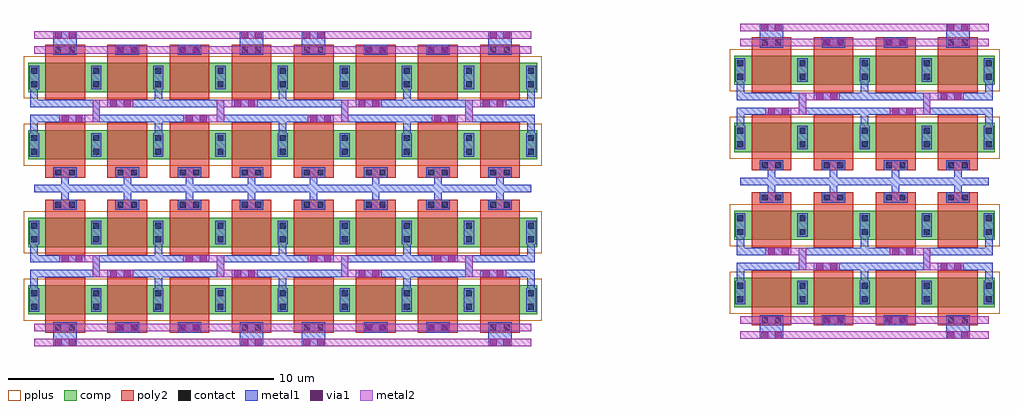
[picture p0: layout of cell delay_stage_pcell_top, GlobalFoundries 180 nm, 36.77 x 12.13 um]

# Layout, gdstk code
import gdstk
lib = gdstk.Library(unit=1e-6, precision=5e-09)
def R(c, l, rs):  # rectangles x0, y0, x1, y1
    for r in rs: c.add(gdstk.rectangle(r[:2], r[2:], *l))
comp = (22, 0)
poly2 = (30, 0)
pplus = (31, 0)
contact = (33, 0)
metal1 = (34, 0)
via1 = (35, 0)
metal2 = (36, 0)

delay_stage_pcell_1_1_2 = lib.new_cell('delay_stage_pcell_1$1$2')
R(delay_stage_pcell_1_1_2, comp, [(0.17,0.3,0.63,1.4), (0.63,0.3,2.51,1.4), (2.51,0.3,2.97,1.4)])
R(delay_stage_pcell_1_1_2, poly2, [(0.82,0,2.32,1.7)])
R(delay_stage_pcell_1_1_2, pplus, [(0,0.06,3.14,1.64)])
R(delay_stage_pcell_1_1_2, contact, [(0.29,0.485,0.51,0.705), (2.63,0.485,2.85,0.705), (0.29,0.995,0.51,1.215), (2.63,0.995,2.85,1.215)])
R(delay_stage_pcell_1_1_2, metal1, [(0.21,0.405,0.59,1.295), (2.55,0.405,2.93,1.295)])

delay_stage_pcell_4_2 = lib.new_cell('delay_stage_pcell_4$2')
delay_stage_pcell_4_2.add(gdstk.Reference(delay_stage_pcell_1_1_2, (0,0)))
delay_stage_pcell_4_2.add(gdstk.Reference(delay_stage_pcell_1_1_2, (2.34,0)))
delay_stage_pcell_4_2.add(gdstk.Reference(delay_stage_pcell_1_1_2, (4.68,0)))
delay_stage_pcell_4_2.add(gdstk.Reference(delay_stage_pcell_1_1_2, (7.02,0)))

delay_stage_pcell_4_4 = lib.new_cell('delay_stage_pcell_4_4')
R(delay_stage_pcell_4_4, poly2, [(0.82,0.51,2.32,0.89), (0.82,0.51,2.32,0.89), (3.16,0.51,4.66,0.89), (3.16,0.51,4.66,0.89), (5.5,0.51,7,0.89), (5.5,0.51,7,0.89), (7.84,0.51,9.34,0.89), (7.84,0.51,9.34,0.89), (0.82,5.13,2.32,5.51), (0.82,5.13,2.32,5.51), (3.16,5.13,4.66,5.51), (3.16,5.13,4.66,5.51), (5.5,5.13,7,5.51), (5.5,5.13,7,5.51), (7.84,5.13,9.34,5.51), (7.84,5.13,9.34,5.51), (0.82,6.35,2.32,6.73), (0.82,6.35,2.32,6.73), (3.16,6.35,4.66,6.73), (3.16,6.35,4.66,6.73), (5.5,6.35,7,6.73), (5.5,6.35,7,6.73), (7.84,6.35,9.34,6.73), (7.84,6.35,9.34,6.73), (0.82,10.97,2.32,11.35), (0.82,10.97,2.32,11.35), (3.16,10.97,4.66,11.35), (3.16,10.97,4.66,11.35), (5.5,10.97,7,11.35), (5.5,10.97,7,11.35), (7.84,10.97,9.34,11.35), (7.84,10.97,9.34,11.35)])
R(delay_stage_pcell_4_4, contact, [(1.205,0.59,1.425,0.81), (1.205,0.59,1.425,0.81), (1.715,0.59,1.935,0.81), (1.715,0.59,1.935,0.81), (3.545,0.59,3.765,0.81), (3.545,0.59,3.765,0.81), (4.055,0.59,4.275,0.81), (4.055,0.59,4.275,0.81), (5.885,0.59,6.105,0.81), (5.885,0.59,6.105,0.81), (6.395,0.59,6.615,0.81), (6.395,0.59,6.615,0.81), (8.225,0.59,8.445,0.81), (8.225,0.59,8.445,0.81), (8.735,0.59,8.955,0.81), (8.735,0.59,8.955,0.81), (1.205,5.21,1.425,5.43), (1.205,5.21,1.425,5.43), (1.715,5.21,1.935,5.43), (1.715,5.21,1.935,5.43), (3.545,5.21,3.765,5.43), (3.545,5.21,3.765,5.43), (4.055,5.21,4.275,5.43), (4.055,5.21,4.275,5.43), (5.885,5.21,6.105,5.43), (5.885,5.21,6.105,5.43), (6.395,5.21,6.615,5.43), (6.395,5.21,6.615,5.43), (8.225,5.21,8.445,5.43), (8.225,5.21,8.445,5.43), (8.735,5.21,8.955,5.43), (8.735,5.21,8.955,5.43), (1.205,6.43,1.425,6.65), (1.205,6.43,1.425,6.65), (1.715,6.43,1.935,6.65), (1.715,6.43,1.935,6.65), (3.545,6.43,3.765,6.65), (3.545,6.43,3.765,6.65), (4.055,6.43,4.275,6.65), (4.055,6.43,4.275,6.65), (5.885,6.43,6.105,6.65), (5.885,6.43,6.105,6.65), (6.395,6.43,6.615,6.65), (6.395,6.43,6.615,6.65), (8.225,6.43,8.445,6.65), (8.225,6.43,8.445,6.65), (8.735,6.43,8.955,6.65), (8.735,6.43,8.955,6.65), (1.205,11.05,1.425,11.27), (1.205,11.05,1.425,11.27), (1.715,11.05,1.935,11.27), (1.715,11.05,1.935,11.27), (3.545,11.05,3.765,11.27), (3.545,11.05,3.765,11.27), (4.055,11.05,4.275,11.27), (4.055,11.05,4.275,11.27), (5.885,11.05,6.105,11.27), (5.885,11.05,6.105,11.27), (6.395,11.05,6.615,11.27), (6.395,11.05,6.615,11.27), (8.225,11.05,8.445,11.27), (8.225,11.05,8.445,11.27), (8.735,11.05,8.955,11.27), (8.735,11.05,8.955,11.27)])
R(delay_stage_pcell_4_4, metal1, [(1.125,0,2.015,0.89), (1.125,0,2.015,0.89), (8.145,0,9.035,0.89), (8.145,0,9.035,0.89), (3.465,0.51,4.355,0.89), (3.465,0.51,4.355,0.89), (5.805,0.51,6.695,0.89), (5.805,0.51,6.695,0.89), (1.125,5.13,2.015,5.51), (3.465,5.13,4.355,5.51), (3.465,5.13,4.355,5.51), (5.805,5.13,6.695,5.51), (5.805,5.13,6.695,5.51), (8.145,5.13,9.035,5.51), (8.145,5.13,9.035,5.51), (1.125,6.35,2.015,6.73), (1.125,6.35,2.015,6.73), (3.465,6.35,4.355,6.73), (3.465,6.35,4.355,6.73), (5.805,6.35,6.695,6.73), (5.805,6.35,6.695,6.73), (8.145,6.35,9.035,6.73), (8.145,6.35,9.035,6.73), (1.125,10.97,2.015,11.86), (1.125,10.97,2.015,11.86), (3.465,10.97,4.355,11.35), (3.465,10.97,4.355,11.35), (5.805,10.97,6.695,11.35), (5.805,10.97,6.695,11.35), (8.145,10.97,9.035,11.86), (8.145,10.97,9.035,11.86)])
R(delay_stage_pcell_4_4, via1, [(1.18,0.01,1.44,0.27), (1.18,0.01,1.44,0.27), (1.7,0.01,1.96,0.27), (1.7,0.01,1.96,0.27), (8.2,0.01,8.46,0.27), (8.2,0.01,8.46,0.27), (8.72,0.01,8.98,0.27), (8.72,0.01,8.98,0.27), (3.52,0.57,3.78,0.83), (3.52,0.57,3.78,0.83), (4.04,0.57,4.3,0.83), (4.04,0.57,4.3,0.83), (5.86,0.57,6.12,0.83), (5.86,0.57,6.12,0.83), (6.38,0.57,6.64,0.83), (6.38,0.57,6.64,0.83), (3.26,2.6,3.52,2.86), (3.26,2.6,3.52,2.86), (3.78,2.6,4.04,2.86), (3.78,2.6,4.04,2.86), (7.94,2.6,8.2,2.86), (7.94,2.6,8.2,2.86), (8.46,2.6,8.72,2.86), (8.46,2.6,8.72,2.86), (1.44,3.16,1.7,3.42), (1.44,3.16,1.7,3.42), (1.96,3.16,2.22,3.42), (1.96,3.16,2.22,3.42), (6.12,3.16,6.38,3.42), (6.12,3.16,6.38,3.42), (6.64,3.16,6.9,3.42), (6.64,3.16,6.9,3.42), (1.44,8.44,1.7,8.7), (1.44,8.44,1.7,8.7), (1.96,8.44,2.22,8.7), (1.96,8.44,2.22,8.7), (6.12,8.44,6.38,8.7), (6.12,8.44,6.38,8.7), (6.64,8.44,6.9,8.7), (6.64,8.44,6.9,8.7), (3.26,9,3.52,9.26), (3.26,9,3.52,9.26), (3.78,9,4.04,9.26), (3.78,9,4.04,9.26), (7.94,9,8.2,9.26), (7.94,9,8.2,9.26), (8.46,9,8.72,9.26), (8.46,9,8.72,9.26), (3.52,11.03,3.78,11.29), (3.52,11.03,3.78,11.29), (4.04,11.03,4.3,11.29), (4.04,11.03,4.3,11.29), (5.86,11.03,6.12,11.29), (5.86,11.03,6.12,11.29), (6.38,11.03,6.64,11.29), (6.38,11.03,6.64,11.29), (1.18,11.59,1.44,11.85), (1.18,11.59,1.44,11.85), (1.7,11.59,1.96,11.85), (1.7,11.59,1.96,11.85), (8.2,11.59,8.46,11.85), (8.2,11.59,8.46,11.85), (8.72,11.59,8.98,11.85), (8.72,11.59,8.98,11.85)])
delay_stage_pcell_4_4.add(gdstk.FlexPath([(0.4,2.185),(0.4,2.73),(1.34,2.73)], 0.28, ends="flush", simple_path=True, layer=34, datatype=0))  # metal1
delay_stage_pcell_4_4.add(gdstk.FlexPath([(0.4,2.185),(0.4,2.73),(1.34,2.73)], 0.28, ends="flush", simple_path=True, layer=34, datatype=0))  # metal1
delay_stage_pcell_4_4.add(gdstk.FlexPath([(5.08,2.185),(5.08,2.59)], 0.28, ends="flush", simple_path=True, layer=34, datatype=0))  # metal1
delay_stage_pcell_4_4.add(gdstk.FlexPath([(5.08,2.185),(5.08,2.59)], 0.28, ends="flush", simple_path=True, layer=34, datatype=0))  # metal1
delay_stage_pcell_4_4.add(gdstk.FlexPath([(9.76,2.185),(9.76,2.73),(8.82,2.73)], 0.28, ends="flush", simple_path=True, layer=34, datatype=0))  # metal1
delay_stage_pcell_4_4.add(gdstk.FlexPath([(9.76,2.185),(9.76,2.73),(8.82,2.73)], 0.28, ends="flush", simple_path=True, layer=34, datatype=0))  # metal1
delay_stage_pcell_4_4.add(gdstk.FlexPath([(1.34,2.73),(2.74,2.73),(2.74,3.29),(4.14,3.29)], 0.28, ends="flush", simple_path=True, layer=34, datatype=0))  # metal1
delay_stage_pcell_4_4.add(gdstk.FlexPath([(1.34,2.73),(2.74,2.73),(2.74,3.29),(4.14,3.29)], 0.28, ends="flush", simple_path=True, layer=34, datatype=0))  # metal1
delay_stage_pcell_4_4.add(gdstk.FlexPath([(3.16,2.73),(4.14,2.73)], 0.28, ends="flush", simple_path=True, layer=34, datatype=0))  # metal1
delay_stage_pcell_4_4.add(gdstk.FlexPath([(3.16,2.73),(4.14,2.73)], 0.28, ends="flush", simple_path=True, layer=34, datatype=0))  # metal1
delay_stage_pcell_4_4.add(gdstk.FlexPath([(6.02,2.73),(4.14,2.73)], 0.28, ends="flush", simple_path=True, layer=34, datatype=0))  # metal1
delay_stage_pcell_4_4.add(gdstk.FlexPath([(6.02,2.73),(4.14,2.73)], 0.28, ends="flush", simple_path=True, layer=34, datatype=0))  # metal1
delay_stage_pcell_4_4.add(gdstk.FlexPath([(6.02,2.73),(7.42,2.73),(7.42,3.29),(8.82,3.29)], 0.28, ends="flush", simple_path=True, layer=34, datatype=0))  # metal1
delay_stage_pcell_4_4.add(gdstk.FlexPath([(6.02,2.73),(7.42,2.73),(7.42,3.29),(8.82,3.29)], 0.28, ends="flush", simple_path=True, layer=34, datatype=0))  # metal1
delay_stage_pcell_4_4.add(gdstk.FlexPath([(7.84,2.73),(8.82,2.73)], 0.28, ends="flush", simple_path=True, layer=34, datatype=0))  # metal1
delay_stage_pcell_4_4.add(gdstk.FlexPath([(7.84,2.73),(8.82,2.73)], 0.28, ends="flush", simple_path=True, layer=34, datatype=0))  # metal1
delay_stage_pcell_4_4.add(gdstk.FlexPath([(1.34,3.29),(2.32,3.29)], 0.28, ends="flush", simple_path=True, layer=34, datatype=0))  # metal1
delay_stage_pcell_4_4.add(gdstk.FlexPath([(1.34,3.29),(2.32,3.29)], 0.28, ends="flush", simple_path=True, layer=34, datatype=0))  # metal1
delay_stage_pcell_4_4.add(gdstk.FlexPath([(6.02,3.29),(4.14,3.29)], 0.28, ends="flush", simple_path=True, layer=34, datatype=0))  # metal1
delay_stage_pcell_4_4.add(gdstk.FlexPath([(6.02,3.29),(4.14,3.29)], 0.28, ends="flush", simple_path=True, layer=34, datatype=0))  # metal1
delay_stage_pcell_4_4.add(gdstk.FlexPath([(6.02,3.29),(7,3.29)], 0.28, ends="flush", simple_path=True, layer=34, datatype=0))  # metal1
delay_stage_pcell_4_4.add(gdstk.FlexPath([(6.02,3.29),(7,3.29)], 0.28, ends="flush", simple_path=True, layer=34, datatype=0))  # metal1
delay_stage_pcell_4_4.add(gdstk.FlexPath([(8.82,3.29),(9.76,3.29),(9.76,3.835)], 0.28, ends="flush", simple_path=True, layer=34, datatype=0))  # metal1
delay_stage_pcell_4_4.add(gdstk.FlexPath([(8.82,3.29),(9.76,3.29),(9.76,3.835)], 0.28, ends="flush", simple_path=True, layer=34, datatype=0))  # metal1
delay_stage_pcell_4_4.add(gdstk.FlexPath([(0.4,3.835),(0.4,3.29),(1.34,3.29)], 0.28, ends="flush", simple_path=True, layer=34, datatype=0))  # metal1
delay_stage_pcell_4_4.add(gdstk.FlexPath([(0.4,3.835),(0.4,3.29),(1.34,3.29)], 0.28, ends="flush", simple_path=True, layer=34, datatype=0))  # metal1
delay_stage_pcell_4_4.add(gdstk.FlexPath([(5.08,3.835),(5.08,3.43)], 0.28, ends="flush", simple_path=True, layer=34, datatype=0))  # metal1
delay_stage_pcell_4_4.add(gdstk.FlexPath([(5.08,3.835),(5.08,3.43)], 0.28, ends="flush", simple_path=True, layer=34, datatype=0))  # metal1
delay_stage_pcell_4_4.add(gdstk.FlexPath([(0.4,5.93),(9.76,5.93)], 0.28, ends="flush", simple_path=True, layer=34, datatype=0))  # metal1
delay_stage_pcell_4_4.add(gdstk.FlexPath([(0.4,8.025),(0.4,8.57),(1.34,8.57)], 0.28, ends="flush", simple_path=True, layer=34, datatype=0))  # metal1
delay_stage_pcell_4_4.add(gdstk.FlexPath([(0.4,9.675),(0.4,9.13),(1.34,9.13)], 0.28, ends="flush", simple_path=True, layer=34, datatype=0))  # metal1
delay_stage_pcell_4_4.add(gdstk.FlexPath([(5.08,9.675),(5.08,9.27)], 0.28, ends="flush", simple_path=True, layer=34, datatype=0))  # metal1
delay_stage_pcell_4_4.add(gdstk.FlexPath([(5.08,8.025),(5.08,8.43)], 0.28, ends="flush", simple_path=True, layer=34, datatype=0))  # metal1
delay_stage_pcell_4_4.add(gdstk.FlexPath([(8.82,8.57),(9.76,8.57),(9.76,8.025)], 0.28, ends="flush", simple_path=True, layer=34, datatype=0))  # metal1
delay_stage_pcell_4_4.add(gdstk.FlexPath([(9.76,9.675),(9.76,9.13),(8.82,9.13)], 0.28, ends="flush", simple_path=True, layer=34, datatype=0))  # metal1
delay_stage_pcell_4_4.add(gdstk.FlexPath([(1.34,9.13),(2.74,9.13),(2.74,8.57),(4.14,8.57)], 0.28, ends="flush", simple_path=True, layer=34, datatype=0))  # metal1
delay_stage_pcell_4_4.add(gdstk.FlexPath([(6.02,9.13),(7.42,9.13),(7.42,8.57),(8.82,8.57)], 0.28, ends="flush", simple_path=True, layer=34, datatype=0))  # metal1
delay_stage_pcell_4_4.add(gdstk.FlexPath([(7.84,9.13),(8.82,9.13)], 0.28, ends="flush", simple_path=True, layer=34, datatype=0))  # metal1
delay_stage_pcell_4_4.add(gdstk.FlexPath([(6.02,8.57),(7,8.57)], 0.28, ends="flush", simple_path=True, layer=34, datatype=0))  # metal1
delay_stage_pcell_4_4.add(gdstk.FlexPath([(1.34,8.57),(2.32,8.57)], 0.28, ends="flush", simple_path=True, layer=34, datatype=0))  # metal1
delay_stage_pcell_4_4.add(gdstk.FlexPath([(3.16,9.13),(4.14,9.13)], 0.28, ends="flush", simple_path=True, layer=34, datatype=0))  # metal1
delay_stage_pcell_4_4.add(gdstk.FlexPath([(6.02,9.13),(4.14,9.13)], 0.28, ends="flush", simple_path=True, layer=34, datatype=0))  # metal1
delay_stage_pcell_4_4.add(gdstk.FlexPath([(6.02,8.57),(4.14,8.57)], 0.28, ends="flush", simple_path=True, layer=34, datatype=0))  # metal1
delay_stage_pcell_4_4.add(gdstk.FlexPath([(6.02,8.57),(4.14,8.57)], 0.28, ends="flush", simple_path=True, layer=34, datatype=0))  # metal1
delay_stage_pcell_4_4.add(gdstk.FlexPath([(6.02,9.13),(4.14,9.13)], 0.28, ends="flush", simple_path=True, layer=34, datatype=0))  # metal1
delay_stage_pcell_4_4.add(gdstk.FlexPath([(3.16,9.13),(4.14,9.13)], 0.28, ends="flush", simple_path=True, layer=34, datatype=0))  # metal1
delay_stage_pcell_4_4.add(gdstk.FlexPath([(1.34,8.57),(2.32,8.57)], 0.28, ends="flush", simple_path=True, layer=34, datatype=0))  # metal1
delay_stage_pcell_4_4.add(gdstk.FlexPath([(6.02,8.57),(7,8.57)], 0.28, ends="flush", simple_path=True, layer=34, datatype=0))  # metal1
delay_stage_pcell_4_4.add(gdstk.FlexPath([(7.84,9.13),(8.82,9.13)], 0.28, ends="flush", simple_path=True, layer=34, datatype=0))  # metal1
delay_stage_pcell_4_4.add(gdstk.FlexPath([(6.02,9.13),(7.42,9.13),(7.42,8.57),(8.82,8.57)], 0.28, ends="flush", simple_path=True, layer=34, datatype=0))  # metal1
delay_stage_pcell_4_4.add(gdstk.FlexPath([(1.34,9.13),(2.74,9.13),(2.74,8.57),(4.14,8.57)], 0.28, ends="flush", simple_path=True, layer=34, datatype=0))  # metal1
delay_stage_pcell_4_4.add(gdstk.FlexPath([(9.76,9.675),(9.76,9.13),(8.82,9.13)], 0.28, ends="flush", simple_path=True, layer=34, datatype=0))  # metal1
delay_stage_pcell_4_4.add(gdstk.FlexPath([(8.82,8.57),(9.76,8.57),(9.76,8.025)], 0.28, ends="flush", simple_path=True, layer=34, datatype=0))  # metal1
delay_stage_pcell_4_4.add(gdstk.FlexPath([(5.08,8.025),(5.08,8.43)], 0.28, ends="flush", simple_path=True, layer=34, datatype=0))  # metal1
delay_stage_pcell_4_4.add(gdstk.FlexPath([(5.08,9.675),(5.08,9.27)], 0.28, ends="flush", simple_path=True, layer=34, datatype=0))  # metal1
delay_stage_pcell_4_4.add(gdstk.FlexPath([(0.4,9.675),(0.4,9.13),(1.34,9.13)], 0.28, ends="flush", simple_path=True, layer=34, datatype=0))  # metal1
delay_stage_pcell_4_4.add(gdstk.FlexPath([(0.4,8.025),(0.4,8.57),(1.34,8.57)], 0.28, ends="flush", simple_path=True, layer=34, datatype=0))  # metal1
delay_stage_pcell_4_4.add(gdstk.FlexPath([(1.57,5.51),(1.57,5.79)], 0.28, ends="flush", simple_path=True, layer=34, datatype=0))  # metal1
delay_stage_pcell_4_4.add(gdstk.FlexPath([(1.57,6.35),(1.57,6.07)], 0.28, ends="flush", simple_path=True, layer=34, datatype=0))  # metal1
delay_stage_pcell_4_4.add(gdstk.FlexPath([(3.91,5.51),(3.91,5.79)], 0.28, ends="flush", simple_path=True, layer=34, datatype=0))  # metal1
delay_stage_pcell_4_4.add(gdstk.FlexPath([(3.91,6.35),(3.91,6.07)], 0.28, ends="flush", simple_path=True, layer=34, datatype=0))  # metal1
delay_stage_pcell_4_4.add(gdstk.FlexPath([(6.25,5.51),(6.25,5.79)], 0.28, ends="flush", simple_path=True, layer=34, datatype=0))  # metal1
delay_stage_pcell_4_4.add(gdstk.FlexPath([(6.25,6.35),(6.25,6.07)], 0.28, ends="flush", simple_path=True, layer=34, datatype=0))  # metal1
delay_stage_pcell_4_4.add(gdstk.FlexPath([(8.59,5.51),(8.59,5.79)], 0.28, ends="flush", simple_path=True, layer=34, datatype=0))  # metal1
delay_stage_pcell_4_4.add(gdstk.FlexPath([(8.59,6.35),(8.59,6.07)], 0.28, ends="flush", simple_path=True, layer=34, datatype=0))  # metal1
delay_stage_pcell_4_4.add(gdstk.FlexPath([(1.12,0.14),(9.76,0.14)], 0.28, ends="flush", simple_path=True, layer=36, datatype=0))  # metal2
delay_stage_pcell_4_4.add(gdstk.FlexPath([(0.4,0.14),(9.76,0.14)], 0.28, ends="flush", simple_path=True, layer=36, datatype=0))  # metal2
delay_stage_pcell_4_4.add(gdstk.FlexPath([(1.125,0.7),(9.76,0.7)], 0.28, ends="flush", simple_path=True, layer=36, datatype=0))  # metal2
delay_stage_pcell_4_4.add(gdstk.FlexPath([(0.4,0.7),(9.76,0.7)], 0.28, ends="flush", simple_path=True, layer=36, datatype=0))  # metal2
delay_stage_pcell_4_4.add(gdstk.FlexPath([(1.34,3.29),(2.74,3.29),(2.74,2.73),(4.14,2.73)], 0.28, ends="flush", simple_path=True, layer=36, datatype=0))  # metal2
delay_stage_pcell_4_4.add(gdstk.FlexPath([(1.34,3.29),(2.74,3.29),(2.74,2.73),(4.14,2.73)], 0.28, ends="flush", simple_path=True, layer=36, datatype=0))  # metal2
delay_stage_pcell_4_4.add(gdstk.FlexPath([(6.02,3.29),(7.42,3.29),(7.42,2.73),(8.82,2.73)], 0.28, ends="flush", simple_path=True, layer=36, datatype=0))  # metal2
delay_stage_pcell_4_4.add(gdstk.FlexPath([(6.02,3.29),(7.42,3.29),(7.42,2.73),(8.82,2.73)], 0.28, ends="flush", simple_path=True, layer=36, datatype=0))  # metal2
delay_stage_pcell_4_4.add(gdstk.FlexPath([(1.125,11.16),(9.76,11.16)], 0.28, ends="flush", simple_path=True, layer=36, datatype=0))  # metal2
delay_stage_pcell_4_4.add(gdstk.FlexPath([(6.02,8.57),(7.42,8.57),(7.42,9.13),(8.82,9.13)], 0.28, ends="flush", simple_path=True, layer=36, datatype=0))  # metal2
delay_stage_pcell_4_4.add(gdstk.FlexPath([(1.12,11.72),(9.76,11.72)], 0.28, ends="flush", simple_path=True, layer=36, datatype=0))  # metal2
delay_stage_pcell_4_4.add(gdstk.FlexPath([(1.34,8.57),(2.74,8.57),(2.74,9.13),(4.14,9.13)], 0.28, ends="flush", simple_path=True, layer=36, datatype=0))  # metal2
delay_stage_pcell_4_4.add(gdstk.FlexPath([(1.34,8.57),(2.74,8.57),(2.74,9.13),(4.14,9.13)], 0.28, ends="flush", simple_path=True, layer=36, datatype=0))  # metal2
delay_stage_pcell_4_4.add(gdstk.FlexPath([(6.02,8.57),(7.42,8.57),(7.42,9.13),(8.82,9.13)], 0.28, ends="flush", simple_path=True, layer=36, datatype=0))  # metal2
delay_stage_pcell_4_4.add(gdstk.FlexPath([(0.4,11.72),(9.76,11.72)], 0.28, ends="flush", simple_path=True, layer=36, datatype=0))  # metal2
delay_stage_pcell_4_4.add(gdstk.FlexPath([(0.4,11.16),(9.76,11.16)], 0.28, ends="flush", simple_path=True, layer=36, datatype=0))  # metal2
delay_stage_pcell_4_4.add(gdstk.Reference(delay_stage_pcell_4_2, (0,3.43)))
delay_stage_pcell_4_4.add(gdstk.Reference(delay_stage_pcell_4_2, (0,3.43)))
delay_stage_pcell_4_4.add(gdstk.Reference(delay_stage_pcell_4_2, (0,9.27)))
delay_stage_pcell_4_4.add(gdstk.Reference(delay_stage_pcell_4_2, (0,9.27)))
delay_stage_pcell_4_4.add(gdstk.Reference(delay_stage_pcell_4_2, (0,2.59), x_reflection=True))
delay_stage_pcell_4_4.add(gdstk.Reference(delay_stage_pcell_4_2, (0,2.59), x_reflection=True))
delay_stage_pcell_4_4.add(gdstk.Reference(delay_stage_pcell_4_2, (0,8.43), x_reflection=True))
delay_stage_pcell_4_4.add(gdstk.Reference(delay_stage_pcell_4_2, (0,8.43), x_reflection=True))

delay_stage_pcell_top = lib.new_cell('delay_stage_pcell_top')
delay_stage_pcell_top.add(gdstk.Reference(delay_stage_pcell_4_4, (0.235,0.72)))
delay_stage_pcell_top.add(gdstk.Reference(delay_stage_pcell_4_4, (9.595,0.72)))
delay_stage_pcell_top.add(gdstk.Reference(delay_stage_pcell_4_4, (26.84,0.995)))

lib.write_gds('delay_stage_pcell_top.gds')
